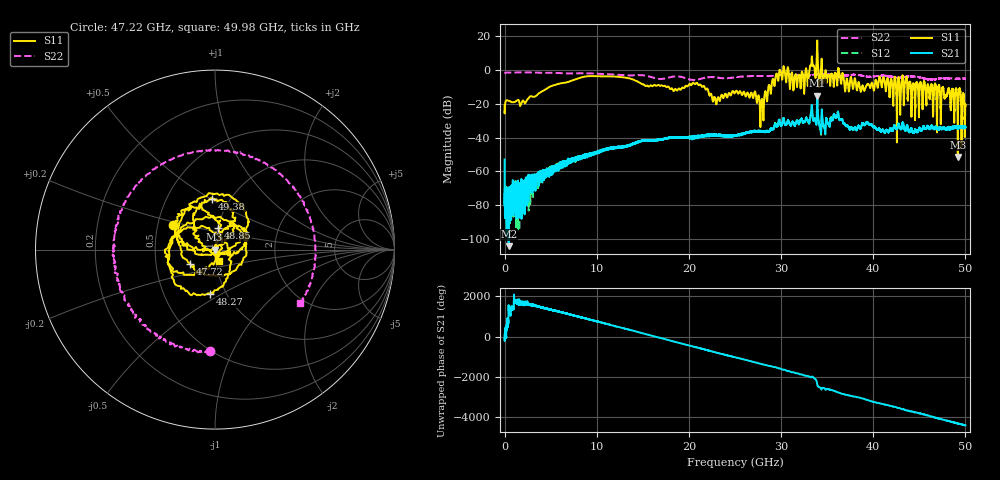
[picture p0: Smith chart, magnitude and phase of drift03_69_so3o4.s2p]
!Created with skrf (http://scikit-rf.org).
# Hz S RI R 50.0
!freq ReS11 ImS11 ReS21 ImS21 ReS12 ImS12 ReS22 ImS22
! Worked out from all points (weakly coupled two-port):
!   10001 points, 300 kHz to 50 GHz, reference 50 ohm
!   highest |S21| = -15.19 dB at 33.92 GHz (marker M1); lowest = -104.3 dB at 440.3 MHz (marker M2)
!   lowest |S11| = -51.4 dB at 49.18 GHz (marker M3), VSWR 1.01, Z = 49.7 + j0.000259 ohm
!   |S11| at or under -10 dB: start of sweep to 4.85 GHz; 21.69 GHz to 28.62 GHz (6.932 GHz wide, 27.6 % of centre); 47.57 GHz to end of sweep (the widest 3 of 42)
!   |S22| runs from -5.9 to -1.3 dB; largest |S21 - S12| = 0.018
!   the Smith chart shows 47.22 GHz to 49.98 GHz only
!   S11 on the Smith chart (normalised r, x): 47.22 GHz: 0.60, +0.18; 47.72 GHz: 0.75, -0.12; 48.27 GHz: 0.84, -0.44; 48.85 GHz: 1.01, +0.24; 49.38 GHz: 0.83, +0.51; 49.98 GHz: 1.04, -0.13
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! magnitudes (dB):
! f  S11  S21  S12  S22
! 300 kHz  -21.0  -53.0  -69.6  -2.1
! 440.3 MHz  -18.2  -104.3  -83.3  -1.5
! 8.335 GHz  -4.3  -52.6  -51.4  -1.9
! 16.67 GHz  -8.8  -41.4  -41.4  -5.2
! 21.01 GHz  -8.7  -39.4  -39.5  -5.5
! 22.81 GHz  -16.1  -38.7  -38.7  -4.2
! 25 GHz  -13.4  -38.5  -38.5  -4.3
! 27.92 GHz  -17.2  -36.1  -36.4  -3.5
! 29.69 GHz  -6.4  -32.2  -31.7  -3.1
! 32.32 GHz  -1.5  -30.5  -30.6  -3.2
! 33.34 GHz  8.0  -20.6  -20.8  -2.9
! 33.92 GHz  17.5  -15.2  -15.5  -2.5
! 38.82 GHz  -9.2  -31.4  -31.8  -3.4
! 41.67 GHz  -9.0  -37.0  -36.7  -3.7
! 47.22 GHz  -11.3  -34.4  -34.1  -4.9
! 47.72 GHz  -15.9  -35.0  -34.2  -4.9
! 48.27 GHz  -12.1  -35.1  -34.6  -5.0
! 48.85 GHz  -18.4  -34.2  -33.7  -5.1
! 49.18 GHz  -51.4  -34.0  -33.7  -5.1
! 49.38 GHz  -10.9  -33.8  -33.8  -5.1
! 49.98 GHz  -23.6  -34.2  -34.3  -5.0
! 50 GHz  -20.3  -33.8  -33.7  -5.0
